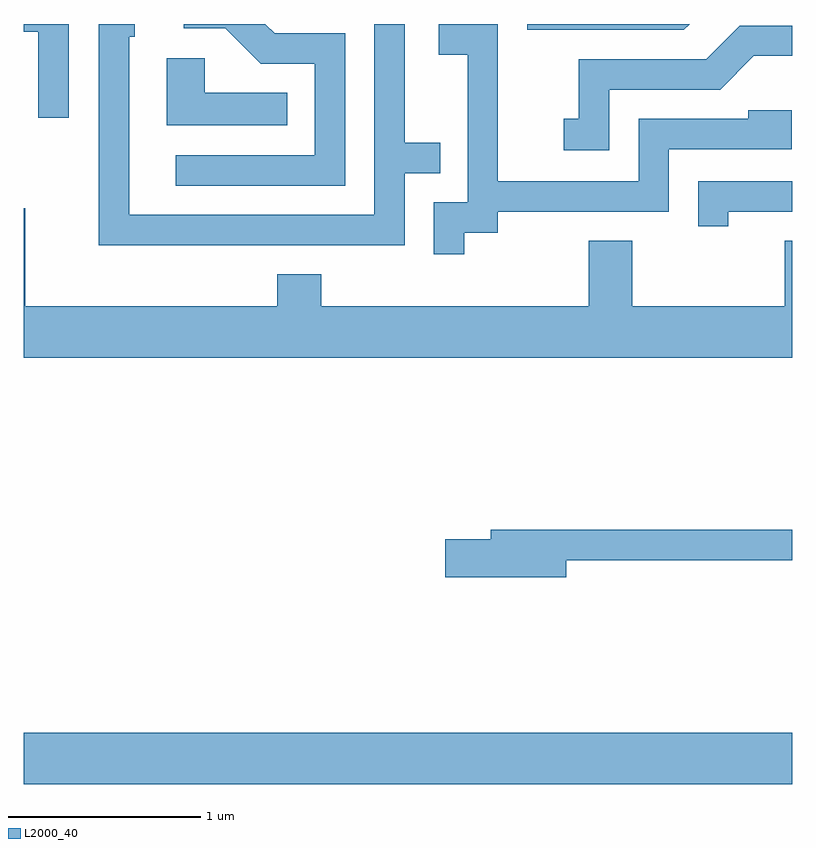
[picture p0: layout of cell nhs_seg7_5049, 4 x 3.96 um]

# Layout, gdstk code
import gdstk
lib = gdstk.Library(unit=1e-6, precision=1e-09)
def R(c, l, rs):  # rectangles x0, y0, x1, y1
    for r in rs: c.add(gdstk.rectangle(r[:2], r[2:], *l))
def P(c, l, *ps):  # polygons
    for p in ps: c.add(gdstk.Polygon(p, *l))
L2000_40 = (2000, 40)

nhs_seg7_5049 = lib.new_cell('nhs_seg7_5049')
R(nhs_seg7_5049, L2000_40, [(339.611,1734.296,343.611,1734.564)])
P(nhs_seg7_5049, L2000_40, [(341.594,1737.476),(341.778,1737.476),(341.778,1737.634),(341.594,1737.634),(341.594,1738.252),(341.436,1738.252),(341.436,1737.259),(340.159,1737.259),(340.159,1738.186),(340.189,1738.186),(340.189,1738.252),(340.001,1738.252),(340.001,1737.101),(341.594,1737.101)],
  [(343.078,1738.252),(342.231,1738.252),(342.231,1738.221),(343.047,1738.221)],
  [(339.844,1738.252),(339.611,1738.252),(339.611,1738.211),(339.686,1738.211),(339.686,1737.763),(339.844,1737.763)],
  [(341.904,1737.166),(342.079,1737.166),(342.079,1737.276),(342.969,1737.276),(342.969,1737.601),(343.609,1737.601),(343.609,1737.804),(343.381,1737.804),(343.381,1737.759),(342.811,1737.759),(342.811,1737.434),(342.079,1737.434),(342.079,1738.252),(341.771,1738.252),(341.771,1738.091),(341.921,1738.091),(341.921,1737.324),(341.746,1737.324),(341.746,1737.053),(341.904,1737.053)],
  [(341.284,1738.204),(340.917,1738.204),(340.869,1738.252),(340.443,1738.252),(340.443,1738.231),(340.659,1738.231),(340.844,1738.046),(341.126,1738.046),(341.126,1737.569),(340.403,1737.569),(340.403,1737.411),(341.284,1737.411)],
  [(342.659,1737.911),(343.237,1737.911),(343.412,1738.086),(343.611,1738.086),(343.611,1738.244),(343.339,1738.244),(343.164,1738.069),(342.501,1738.069),(342.501,1737.759),(342.423,1737.759),(342.423,1737.596),(342.659,1737.596)],
  [(340.983,1737.894),(340.554,1737.894),(340.554,1738.074),(340.356,1738.074),(340.356,1737.726),(340.983,1737.726)],
  [(343.279,1737.276),(343.611,1737.276),(343.611,1737.434),(343.121,1737.434),(343.121,1737.198),(343.279,1737.198)],
  [(343.611,1737.124),(343.571,1737.124),(343.571,1736.784),(342.779,1736.784),(342.779,1737.124),(342.551,1737.124),(342.551,1736.784),(341.159,1736.784),(341.159,1736.949),(340.931,1736.949),(340.931,1736.784),(339.619,1736.784),(339.619,1737.294),(339.611,1737.294),(339.611,1736.516),(343.611,1736.516)],
  [(342.434,1735.461),(343.611,1735.461),(343.611,1735.619),(342.041,1735.619),(342.041,1735.569),(341.806,1735.569),(341.806,1735.371),(342.434,1735.371)])

lib.write_gds('nhs_seg7_5049.gds')
